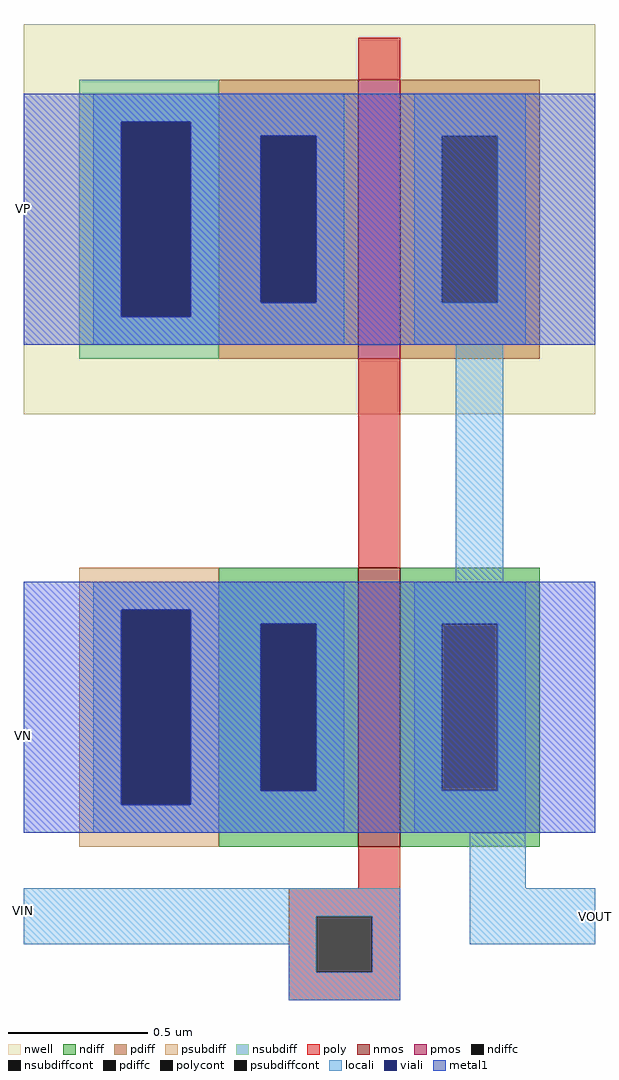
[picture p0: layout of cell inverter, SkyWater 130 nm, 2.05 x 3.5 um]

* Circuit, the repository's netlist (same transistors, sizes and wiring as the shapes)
* SPICE3 file created from inverter.ext - technology: sky130A

X0 VOUT VIN VN VN sky130_fd_pr__nfet_01v8 ad=0.5 pd=3 as=0.5 ps=3 w=1 l=0.15
X1 VOUT VIN VP VP sky130_fd_pr__pfet_01v8 ad=0.5 pd=3 as=0.5 ps=3 w=1 l=0.15
.ends

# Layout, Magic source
magic
tech sky130A
<< nwell >>
rect -115 180 90 320
<< nmos >>
rect 5 25 20 125
<< pmos >>
rect 5 200 20 300
<< ndiff >>
rect -45 105 5 125
rect -45 45 -30 105
rect -10 45 5 105
rect -45 25 5 45
rect 20 105 70 125
rect 20 45 35 105
rect 55 45 70 105
rect 20 25 70 45
<< pdiff >>
rect -45 280 5 300
rect -45 220 -30 280
rect -10 220 5 280
rect -45 200 5 220
rect 20 280 70 300
rect 20 220 35 280
rect 55 220 70 280
rect 20 200 70 220
<< ndiffc >>
rect -30 45 -10 105
rect 35 45 55 105
<< pdiffc >>
rect -30 220 -10 280
rect 35 220 55 280
<< psubdiff >>
rect -95 110 -45 125
rect -95 40 -80 110
rect -55 40 -45 110
rect -95 25 -45 40
<< nsubdiff >>
rect -95 285 -45 300
rect -95 215 -80 285
rect -55 215 -45 285
rect -95 200 -45 215
<< psubdiffcont >>
rect -80 40 -55 110
<< nsubdiffcont >>
rect -80 215 -55 285
<< poly >>
rect 5 300 20 315
rect 5 125 20 200
rect 5 10 20 25
rect -20 0 20 10
rect -20 -20 -10 0
rect 10 -20 20 0
rect -20 -30 20 -20
<< polycont >>
rect -10 -20 10 0
<< locali >>
rect -90 285 0 295
rect -90 215 -80 285
rect -55 280 0 285
rect -55 220 -30 280
rect -10 220 0 280
rect -55 215 0 220
rect -90 205 0 215
rect 25 280 65 295
rect 25 220 35 280
rect 55 220 65 280
rect 25 205 65 220
rect 40 120 57 205
rect -90 110 0 120
rect -90 40 -80 110
rect -55 105 0 110
rect -55 45 -30 105
rect -10 45 0 105
rect -55 40 0 45
rect -90 30 0 40
rect 25 105 65 120
rect 25 45 35 105
rect 55 45 65 105
rect 25 30 65 45
rect 45 10 65 30
rect -115 0 20 10
rect -115 -10 -10 0
rect -20 -20 -10 -10
rect 10 -20 20 0
rect 45 -10 90 10
rect -20 -30 20 -20
<< viali >>
rect -80 215 -55 285
rect -30 220 -10 280
rect -80 40 -55 110
rect -30 45 -10 105
<< metal1 >>
rect -115 285 90 295
rect -115 215 -80 285
rect -55 280 90 285
rect -55 220 -30 280
rect -10 220 90 280
rect -55 215 90 220
rect -115 205 90 215
rect -115 110 90 120
rect -115 40 -80 110
rect -55 105 90 110
rect -55 45 -30 105
rect -10 45 90 105
rect -55 40 90 45
rect -115 30 90 40
<< labels >>
rlabel metal1 -115 65 -115 65 7 VN
port 4 w
rlabel metal1 -115 254 -115 254 7 VP
port 3 w
rlabel locali -115 2 -115 2 7 VIN
port 1 w
rlabel locali 90 0 90 0 3 VOUT
port 2 e
<< end >>
